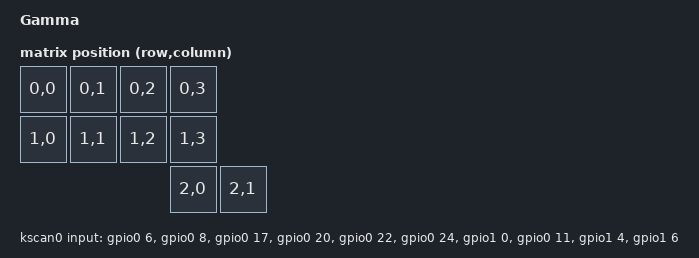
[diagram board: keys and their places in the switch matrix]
/*
*
* Copyright (c) 2021 Darryl deHaan
* SPDX-License-Identifier: MIT
*
*/

/dts-v1/;
#include <nordic/nrf52840_qiaa.dtsi>

#include <dt-bindings/zmk/matrix_transform.h>

/ {
    model = "Gamma";
    compatible = "gamma";

    chosen {
        zmk,kscan = &kscan0;
        zmk,battery = &vbatt;
        zmk,matrix-transform = &default_transform;
        zephyr,code-partition = &code_partition;
        zephyr,sram = &sram0;
        zephyr,flash = &flash0;
        zephyr,console = &cdc_acm_uart;
    };

    vbatt: vbatt {
        compatible = "zmk,battery-nrf-vddh";
    };

    kscan0: kscan {
        compatible = "zmk,kscan-gpio-direct";
        label = "KSCAN";

        input-gpios
            = <&gpio0 6 (GPIO_ACTIVE_LOW | GPIO_PULL_UP)>
            , <&gpio0 8 (GPIO_ACTIVE_LOW | GPIO_PULL_UP)>
            , <&gpio0 17 (GPIO_ACTIVE_LOW | GPIO_PULL_UP)>
            , <&gpio0 20 (GPIO_ACTIVE_LOW | GPIO_PULL_UP)>
            , <&gpio0 22 (GPIO_ACTIVE_LOW | GPIO_PULL_UP)>
            , <&gpio0 24 (GPIO_ACTIVE_LOW | GPIO_PULL_UP)>
            , <&gpio1 0 (GPIO_ACTIVE_LOW | GPIO_PULL_UP)>
            , <&gpio0 11 (GPIO_ACTIVE_LOW | GPIO_PULL_UP)>
            , <&gpio1 4 (GPIO_ACTIVE_LOW | GPIO_PULL_UP)>
            , <&gpio1 6 (GPIO_ACTIVE_LOW | GPIO_PULL_UP)>
            ;
    };

    led188 {
        compatible = "gpio-leds";
        led188_1: led_1 {
            gpios = <&gpio0 31 GPIO_ACTIVE_HIGH>;
        };
        led188_2: led_2 {
            gpios = <&gpio0 29 GPIO_ACTIVE_HIGH>;
        };
        led188_3: led_3 {
            gpios = <&gpio0 2 GPIO_ACTIVE_HIGH>;
        };
        led188_4: led_4 {
            gpios = <&gpio1 15 GPIO_ACTIVE_HIGH>;
        };
        led188_5: led_5 {
            gpios = <&gpio1 13 GPIO_ACTIVE_HIGH>;
        };
        kek: kek {
            gpios = <&gpio1 11 GPIO_ACTIVE_HIGH>;
        };
    };

    default_transform: keymap_transform_0 {
        compatible = "zmk,matrix-transform";
        columns = <4>;
        rows = <3>;
        map = <
        RC(0,0) RC(0,1) RC(0,2) RC(0,3)
        RC(1,0) RC(1,1) RC(1,2) RC(1,3)
                                RC(2,0) RC(2,1)
            >;
    };
};

&adc {
    status = "okay";
};

&gpiote {
    status = "okay";
};

&gpio0 {
    status = "okay";
};

&gpio1 {
    status = "okay";
};

&usbd {
    status = "okay";
    cdc_acm_uart: cdc_acm_uart {
        compatible = "zephyr,cdc-acm-uart";
    };
};

&flash0 {
    /*
     * For more information, see:
     * http://docs.zephyrproject.org/latest/devices/dts/flash_partitions.html
     */
    partitions {
        compatible = "fixed-partitions";
        #address-cells = <1>;
        #size-cells = <1>;

        sd_partition: partition@0 {
            reg = <0x00000000 0x00026000>;
        };
        code_partition: partition@26000 {
            reg = <0x00026000 0x000c6000>;
        };

        /*
         * The flash starting at 0x000ec000 and ending at
         * 0x000f3fff is reserved for use by the application.
         */

        /*
         * Storage partition will be used by FCB/LittleFS/NVS
         * if enabled.
         */
        storage_partition: partition@ec000 {
            reg = <0x000ec000 0x00008000>;
        };

        boot_partition: partition@f4000 {
            reg = <0x000f4000 0x0000c000>;
        };
    };
};
